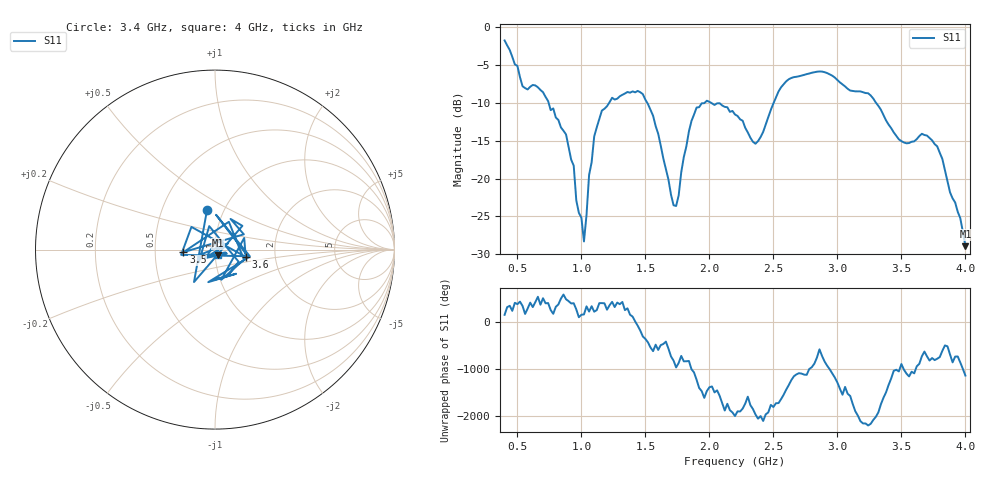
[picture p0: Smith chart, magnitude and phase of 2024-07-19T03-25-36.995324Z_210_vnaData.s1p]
!Created with skrf (http://scikit-rf.org).
# Hz S RI R 50.0
!freq ReS11 ImS11
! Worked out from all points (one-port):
!   181 points, 400 MHz to 4 GHz, reference 50 ohm
!   lowest |S11| = -28.9 dB at 4 GHz (marker M1), VSWR 1.07, Z = 51.7 - j3.2 ohm
!   |S11| at or under -10 dB: 744 MHz to 1.217 GHz (472.6 MHz wide, 48.2 % of centre); 2.014 GHz to 2.502 GHz (487.5 MHz wide, 21.6 % of centre); 3.302 GHz to end of sweep (the widest 3 of 4)
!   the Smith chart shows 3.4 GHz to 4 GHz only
!   S11 on the Smith chart (normalised r, x): 3.4 GHz: 0.83, +0.39; 3.5 GHz: 0.70, -0.02; 3.6 GHz: 1.41, -0.12; 4 GHz: 1.03, -0.06
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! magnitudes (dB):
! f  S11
! 400 MHz  -1.7
! 540 MHz  -7.8
! 700 MHz  -8.6
! 860 MHz  -13.7
! 940 MHz  -18.3
! 960 MHz  -22.9
! 1.02 GHz  -28.3
! 1.06 GHz  -19.5
! 1.1 GHz  -14.4
! 1.16 GHz  -11.0
! 1.3 GHz  -9.1
! 1.48 GHz  -8.8
! 1.6 GHz  -14.1
! 1.72 GHz  -23.5
! 1.76 GHz  -22.2
! 1.84 GHz  -13.8
! 1.9 GHz  -10.6
! 2.2 GHz  -11.5
! 2.36 GHz  -15.4
! 2.66 GHz  -6.6
! 3.1 GHz  -8.4
! 3.26 GHz  -9.0
! 3.4 GHz  -12.9
! 3.5 GHz  -15.1
! 3.56 GHz  -15.3
! 3.6 GHz  -15.1
! 3.78 GHz  -15.7
! 4 GHz  -28.9
